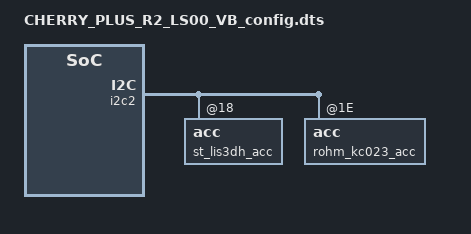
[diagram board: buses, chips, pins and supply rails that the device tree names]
/*
 *  Copyright (C) 2014 Hisilicon Ltd.
 *  Author: Bintian Wang <bintian.wang@huawei.com>
 *
 *  This program is free software; you can redistribute it and/or modify
 *  it under the terms of the GNU General Public License version 2 as
 *  publishhed by the Free Software Foundation.
 */

/dts-v1/;
/* NOTE:
 * The last reserved memory base is used in fastboot
 * Which should be the least reseve value
 */
/include/ "fastboot.dtsi"
/include/ "CHERRY_PLUS_R2_UL00_VB_config.dtsi"
/include/ "CHERRY_PLUS_R2_LS00_VB_pin.dtsi"
/include/ "CHERRY_PLUS_R2_LS00_VB_gpio_logic.dtsi"
/include/ "CHERRY_PLUS_R2_LS00_VB_pmic.dtsi"
/include/ "CHERRY_PLUS_R2_LS00_VB_charger.dtsi"
/ {
	hisi,boardid = <0 7 8 0>;
	hisi,boardname = "CHERRY_PLUS_R2_LS00_VB";
        hisi,modem_id = <0x3DB00500>;
	hisi,product_name = "CHERRY_PLUS_LS00";

    boardinfo{
	factory_product_name = "HL4CHRPLSL03MAA";
	normal_product_name = "Che2-L03";
	};
    
    amba {
	i2c2: i2c@f7102000 {
			st_lis3dh_acc:acc@18{
				axis_map_x=<0>;
				axis_map_y=<1>;
				axis_map_z=<2>;
				negate_x=<0>;
				negate_y=<1>;
				negate_z=<1>;
				status = "ok";
			};
			rohm_kc023_acc:acc@1E{
				axis_map_x=<0>;
				axis_map_y=<1>;
				axis_map_z=<2>;
				negate_x=<0>;
				negate_y=<1>;
				negate_z=<1>;
				status = "ok";
			};
		};
	};

    /*separate audio parameters for cherryplus global project*/
    audio_hw_config {
        product_name = "CHERRYPLUSGLOBAL";
        cust_name = "none";
        spk_pa_name = "none";
        soc_name = "hi62x0";
        codec_name = "hissc";
        codec_dsp_algo = "none";
        modem_sio_master = "true";
        status = "ok";
    };
};
